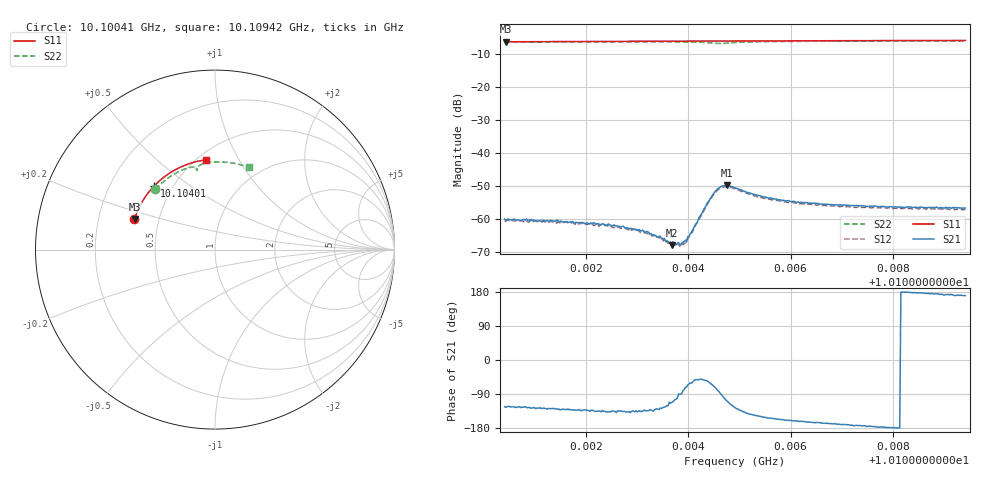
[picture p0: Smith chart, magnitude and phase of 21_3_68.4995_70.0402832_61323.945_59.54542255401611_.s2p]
#  HZ  S  RI  R  50.00
! Rohde & Schwarz Vector Network Analyzer
! Rohde-Schwarz,ZNB20-2Port,1311601062101988,3.16
! Created: UTC 3/20/2024, 5:04:41 PM
! freq[Hz]  re:S11  im:S11  re:S21  im:S21  re:S12  im:S12  re:S22  im:S22
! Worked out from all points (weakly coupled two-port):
!   401 points, 10.10041 GHz to 10.10942 GHz, reference 50 ohm
!   highest |S21| = -49.75 dB at 10.10476 GHz (marker M1); lowest = -67.7 dB at 10.10368 GHz (marker M2)
!   lowest |S11| = -6.4 dB at 10.10044 GHz (marker M3), VSWR 2.84, Z = 18.1 + j8.04 ohm
!   |S11| at or under -10 dB: nowhere
!   |S22| runs from -6.9 to -6.1 dB; largest |S21 - S12| = 0.00034
!   S11 on the Smith chart (normalised r, x): 10.10041 GHz: 0.36, +0.16; 10.10401 GHz: 0.40, +0.37; 10.10942 GHz: 0.55, +0.74
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1.0100413e10  -0.4489 0.1696  -0.00056 -0.000847  -0.000464 -0.000828  -0.3327 0.3352
1.0100435e10  -0.4483 0.171  -0.000552 -0.000792  -0.000425 -0.000832  -0.3317 0.3364
1.0101921e10  -0.4128 0.254  -0.000622 -0.000652  -0.000532 -0.000693  -0.2597 0.4
1.0102596e10  -0.3916 0.2892  -0.000595 -0.000516  -0.000504 -0.000585  -0.2224 0.424
1.0102979e10  -0.3781 0.3082  -0.000475 -0.000495  -0.000449 -0.000508  -0.2 0.4359
1.0103159e10  -0.3718 0.3169  -0.000431 -0.000455  -0.000407 -0.000476  -0.189 0.4411
1.0103429e10  -0.3615 0.3299  -0.000362 -0.000417  -0.00028 -0.000438  -0.1719 0.4482
1.0103677e10  -0.3517 0.3411  -0.000152 -0.000383  -0.00015 -0.000406  -0.1553 0.4538
1.0103812e10  -0.3462 0.3473  4.07e-06 -0.000448  -1.84e-05 -0.000416  -0.1458 0.4566
1.0103879e10  -0.3433 0.3503  1.51e-05 -0.000448  8.97e-05 -0.00044  -0.1409 0.4576
1.0103947e10  -0.3408 0.3533  0.00015 -0.000461  0.000143 -0.000415  -0.1358 0.4585
1.0104014e10  -0.3377 0.3562  0.000246 -0.000488  0.000306 -0.000448  -0.1307 0.4591
1.0104352e10  -0.3231 0.3705  0.000943 -0.00133  0.00101 -0.00119  -0.104 0.4547
1.0104509e10  -0.3162 0.377  0.000854 -0.00237  0.00102 -0.00221  -0.0975 0.4458
1.0104622e10  -0.3112 0.3816  0.000149 -0.00305  0.00039 -0.00291  -0.1001 0.4414
1.0104757e10  -0.3051 0.3869  -0.00101 -0.00309  -0.000676 -0.00303  -0.1046 0.4456
1.0104914e10  -0.298 0.3932  -0.00174 -0.00244  -0.00149 -0.0025  -0.1019 0.4562
1.0105522e10  -0.2687 0.4156  -0.00191 -0.00103  -0.00172 -0.00112  -0.0622 0.4788
1.0105792e10  -0.2553 0.4247  -0.00182 -0.000772  -0.00167 -0.000877  -0.0436 0.483
1.0106422e10  -0.2224 0.4445  -0.00169 -0.000464  -0.00155 -0.000585  -0.00152 0.4879
1.010793e10  -0.1388 0.4805  -0.00155 -4.59e-05  -0.00147 -0.000202  0.0959 0.4826
1.0109416e10  -0.0513 0.5  -0.00146 0.000267  -0.00141 9.31e-05  0.1873 0.4582
